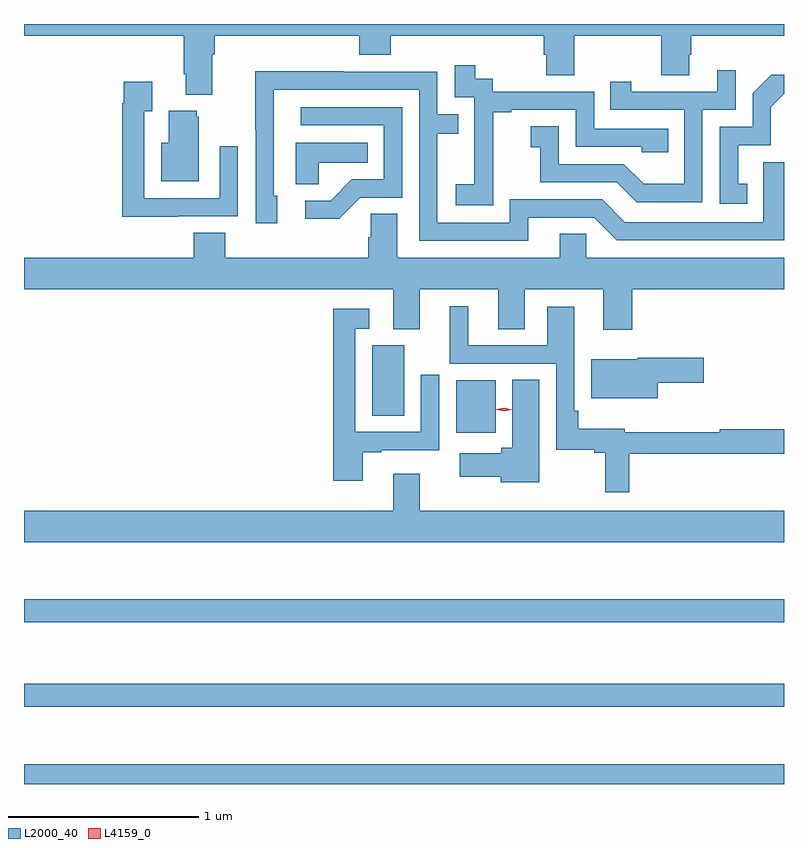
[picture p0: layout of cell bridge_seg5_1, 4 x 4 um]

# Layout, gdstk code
import gdstk
lib = gdstk.Library(unit=1e-6, precision=1e-09)
def R(c, l, rs):  # rectangles x0, y0, x1, y1
    for r in rs: c.add(gdstk.rectangle(r[:2], r[2:], *l))
def P(c, l, *ps):  # polygons
    for p in ps: c.add(gdstk.Polygon(p, *l))
L2000_40 = (2000, 40)
L4159_0 = (4159, 0)

bridge_seg5_1 = lib.new_cell('bridge_seg5_1')
R(bridge_seg5_1, L2000_40, [(623.693,907.435,627.693,907.54), (623.693,907.842,627.693,907.963), (623.693,908.286,627.693,908.407), (625.967,909.284,626.176,909.559), (625.526,909.373,625.693,909.744)])
P(bridge_seg5_1, L2000_40, [(627.193,911.274),(627.206,911.274),(627.206,911.372),(627.693,911.372),(627.693,911.435),(623.693,911.435),(623.693,911.372),(624.533,911.372),(624.533,911.17),(624.545,911.17),(624.545,911.063),(624.685,911.063),(624.685,911.276),(624.698,911.276),(624.698,911.372),(625.457,911.372),(625.457,911.273),(625.622,911.273),(625.622,911.372),(626.429,911.372),(626.429,911.274),(626.441,911.274),(626.441,911.164),(626.589,911.164),(626.589,911.372),(627.046,911.372),(627.046,911.164),(627.193,911.164)],
  [(626.163,910.687),(626.162,910.687),(626.162,910.971),(626.257,910.971),(626.257,910.983),(626.598,910.983),(626.598,910.788),(626.943,910.788),(626.943,910.761),(627.083,910.761),(627.083,910.884),(626.694,910.884),(626.694,911.079),(626.16,911.079),(626.16,911.148),(626.068,911.148),(626.068,911.218),(625.959,911.218),(625.959,911.049),(626.064,911.049),(626.064,910.82),(626.063,910.82),(626.063,910.591),(625.965,910.591),(625.965,910.481),(626.163,910.481)],
  [(627.264,910.983),(627.438,910.983),(627.438,911.191),(627.341,911.191),(627.341,911.079),(626.89,911.079),(626.89,911.131),(626.779,911.131),(626.779,910.983),(627.168,910.983),(627.168,910.594),(626.954,910.594),(626.85,910.698),(626.508,910.698),(626.508,910.897),(626.361,910.897),(626.361,910.787),(626.41,910.787),(626.41,910.602),(626.813,910.602),(626.918,910.497),(627.264,910.497)],
  [(626.347,910.416),(626.694,910.416),(626.814,910.296),(627.693,910.296),(627.693,910.707),(627.585,910.707),(627.585,910.392),(626.856,910.392),(626.736,910.512),(626.25,910.512),(626.25,910.389),(625.869,910.389),(625.869,910.858),(625.979,910.858),(625.979,910.959),(625.869,910.959),(625.869,911.184),(625.373,911.184),(625.373,911.186),(624.91,911.186),(624.91,910.879),(624.912,910.879),(624.912,910.386),(625.027,910.386),(625.027,910.53),(625.008,910.53),(625.008,911.088),(625.773,911.088),(625.773,910.293),(626.347,910.293)],
  [(627.5,910.593),(627.451,910.593),(627.451,910.797),(627.624,910.797),(627.624,910.998),(627.693,911.067),(627.693,911.168),(627.626,911.168),(627.528,911.07),(627.528,910.893),(627.354,910.893),(627.354,910.488),(627.5,910.488)],
  [(624.503,910.422),(624.819,910.422),(624.819,910.792),(624.723,910.792),(624.723,910.518),(624.327,910.518),(624.327,910.975),(624.367,910.975),(624.367,911.131),(624.219,911.131),(624.219,911.018),(624.211,911.018),(624.211,910.421),(624.503,910.421)],
  [(625.464,910.521),(625.683,910.521),(625.683,910.998),(625.149,910.998),(625.149,910.902),(625.587,910.902),(625.587,910.617),(625.418,910.617),(625.307,910.506),(625.173,910.506),(625.173,910.409),(625.351,910.409)],
  [(624.613,910.947),(624.602,910.947),(624.602,910.978),(624.455,910.978),(624.455,910.81),(624.416,910.81),(624.416,910.607),(624.613,910.607)],
  [(625.245,910.706),(625.502,910.706),(625.502,910.81),(625.124,910.81),(625.124,910.591),(625.245,910.591)],
  [(626.894,910.04),(627.693,910.04),(627.693,910.204),(626.652,910.204),(626.652,910.331),(626.513,910.331),(626.513,910.204),(625.657,910.204),(625.657,910.436),(625.518,910.436),(625.518,910.313),(625.505,910.313),(625.505,910.204),(624.752,910.204),(624.752,910.337),(624.587,910.337),(624.587,910.204),(623.693,910.204),(623.693,910.04),(625.637,910.04),(625.637,909.829),(625.777,909.829),(625.777,910.04),(626.189,910.04),(626.189,909.829),(626.329,909.829),(626.329,910.04),(626.741,910.04),(626.741,909.825),(626.894,909.825)],
  [(626.879,909.174),(627.693,909.174),(627.693,909.302),(627.356,909.302),(627.356,909.287),(626.856,909.287),(626.856,909.304),(626.609,909.304),(626.609,909.4),(626.589,909.4),(626.589,909.946),(626.447,909.946),(626.447,909.744),(626.032,909.744),(626.032,909.949),(625.933,909.949),(625.933,909.648),(626.493,909.648),(626.493,909.195),(626.694,909.195),(626.694,909.178),(626.751,909.178),(626.751,908.97),(626.879,908.97)],
  [(625.477,909.18),(625.573,909.18),(625.573,909.192),(625.878,909.192),(625.878,909.589),(625.782,909.589),(625.782,909.288),(625.437,909.288),(625.437,909.831),(625.51,909.831),(625.51,909.937),(625.321,909.937),(625.321,909.03),(625.477,909.03)],
  [(627.028,909.548),(627.271,909.548),(627.271,909.678),(626.924,909.678),(626.924,909.67),(626.678,909.67),(626.678,909.464),(627.028,909.464)],
  [(626.404,909.563),(626.264,909.563),(626.264,909.204),(626.205,909.204),(626.205,909.175),(625.986,909.175),(625.986,909.053),(626.201,909.053),(626.201,909.023),(626.404,909.023)],
  [(627.693,908.872),(625.777,908.872),(625.777,909.067),(625.637,909.067),(625.637,908.872),(623.693,908.872),(623.693,908.708),(627.693,908.708)])
P(bridge_seg5_1, L4159_0, [(626.221,909.396),(626.18,909.406),(626.18,909.407),(626.18,909.407),(626.221,909.416),(626.261,909.405),(626.262,909.405),(626.261,909.404)])

lib.write_gds('bridge_seg5_1.gds')
